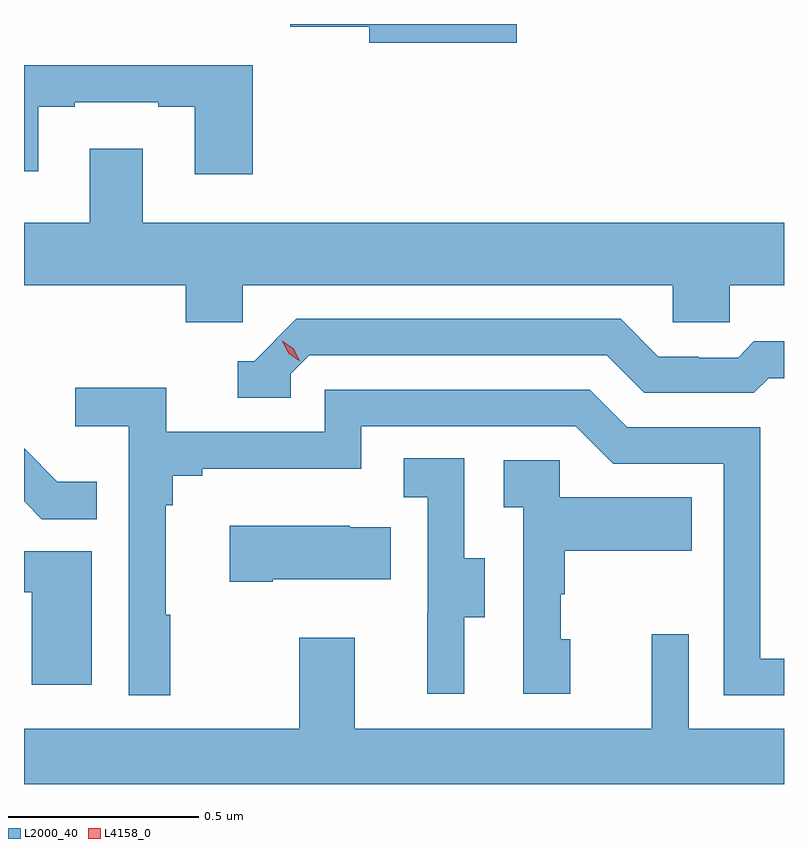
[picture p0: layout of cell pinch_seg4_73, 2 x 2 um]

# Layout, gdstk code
import gdstk
lib = gdstk.Library(unit=1e-6, precision=1e-09)
def P(c, l, *ps):  # polygons
    for p in ps: c.add(gdstk.Polygon(p, *l))
L2000_40 = (2000, 40)
L4158_0 = (4158, 0)

pinch_seg4_73 = lib.new_cell('pinch_seg4_73')
P(pinch_seg4_73, L2000_40, [(1025.983,826.811),(1025.386,826.811),(1025.386,826.804),(1025.594,826.804),(1025.594,826.762),(1025.983,826.762)],
  [(1025.288,826.702),(1024.686,826.702),(1024.686,826.424),(1024.723,826.424),(1024.723,826.593),(1024.819,826.593),(1024.819,826.605),(1025.039,826.605),(1025.039,826.593),(1025.135,826.593),(1025.135,826.416),(1025.288,826.416)],
  [(1025.262,826.124),(1026.393,826.124),(1026.393,826.026),(1026.543,826.026),(1026.543,826.124),(1026.686,826.124),(1026.686,826.288),(1024.999,826.288),(1024.999,826.483),(1024.859,826.483),(1024.859,826.288),(1024.686,826.288),(1024.686,826.124),(1025.111,826.124),(1025.111,826.026),(1025.262,826.026)],
  [(1025.388,825.891),(1025.436,825.939),(1026.219,825.939),(1026.318,825.84),(1026.607,825.84),(1026.646,825.879),(1026.686,825.879),(1026.686,825.976),(1026.607,825.976),(1026.565,825.933),(1026.462,825.933),(1026.462,825.936),(1026.355,825.936),(1026.256,826.035),(1025.403,826.035),(1025.292,825.924),(1025.249,825.924),(1025.249,825.828),(1025.388,825.828)],
  [(1025.071,825.257),(1025.059,825.257),(1025.059,825.545),(1025.078,825.545),(1025.078,825.622),(1025.155,825.622),(1025.155,825.641),(1025.574,825.641),(1025.574,825.753),(1026.138,825.753),(1026.237,825.654),(1026.528,825.654),(1026.528,825.045),(1026.686,825.045),(1026.686,825.141),(1026.624,825.141),(1026.624,825.75),(1026.274,825.75),(1026.175,825.849),(1025.478,825.849),(1025.478,825.738),(1025.06,825.738),(1025.06,825.854),(1024.821,825.854),(1024.821,825.752),(1024.962,825.752),(1024.962,825.045),(1025.071,825.045)],
  [(1024.877,825.607),(1024.773,825.607),(1024.686,825.694),(1024.686,825.555),(1024.733,825.508),(1024.877,825.508)],
  [(1025.845,825.25),(1025.899,825.25),(1025.899,825.405),(1025.844,825.405),(1025.844,825.668),(1025.685,825.668),(1025.685,825.565),(1025.748,825.565),(1025.748,825.261),(1025.747,825.261),(1025.747,825.048),(1025.845,825.048)],
  [(1026.124,825.192),(1026.099,825.192),(1026.099,825.311),(1026.109,825.311),(1026.109,825.425),(1026.443,825.425),(1026.443,825.565),(1026.096,825.565),(1026.096,825.663),(1025.949,825.663),(1025.949,825.539),(1026,825.539),(1026,825.048),(1026.124,825.048)],
  [(1025.341,825.35),(1025.651,825.35),(1025.651,825.487),(1025.543,825.487),(1025.543,825.49),(1025.228,825.49),(1025.228,825.343),(1025.341,825.343)],
  [(1024.864,825.423),(1024.686,825.423),(1024.686,825.315),(1024.706,825.315),(1024.706,825.072),(1024.864,825.072)],
  [(1026.686,824.956),(1026.435,824.956),(1026.435,825.205),(1026.338,825.205),(1026.338,824.956),(1025.557,824.956),(1025.557,825.196),(1025.41,825.196),(1025.41,824.956),(1024.686,824.956),(1024.686,824.811),(1026.686,824.811)])
P(pinch_seg4_73, L4158_0, [(1025.411,825.924),(1025.381,825.944),(1025.365,825.977),(1025.365,825.977),(1025.365,825.977),(1025.396,825.957),(1025.412,825.925),(1025.412,825.924)])

lib.write_gds('pinch_seg4_73.gds')
